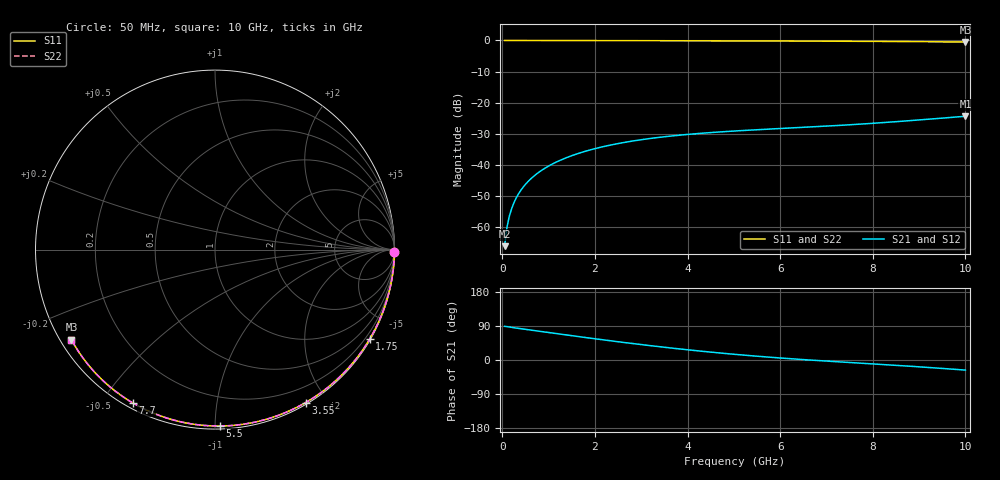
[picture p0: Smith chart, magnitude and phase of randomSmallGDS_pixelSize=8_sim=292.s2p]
! freq	dB(S11)	phase(S11)	dB(S12)	phase(S12)
!  dB(S21)	phase(S21)	dB(S22)	phase(S22)
!S-par simulation data
#  GHz  S  DB  R 50
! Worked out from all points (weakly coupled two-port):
!   200 points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, 50 MHz to 10 GHz, reference 50 ohm
!   highest |S21| = -24.35 dB at 10 GHz (marker M1); lowest = -66.1 dB at 50 MHz (marker M2)
!   lowest |S11| = -0.5 dB at 10 GHz (marker M3), VSWR 35.09, Z = 1.54 - j14.4 ohm
!   |S11| at or under -10 dB: nowhere
!   |S22| runs from -0.5 to 0.0 dB; largest |S21 - S12| = 0
!   S11 on the Smith chart (normalised r, x): 50 MHz: open; 1.75 GHz: 0.03, -3.72; 3.55 GHz: 0.02, -1.76; 5.5 GHz: 0.02, -1.03; 7.7 GHz: 0.02, -0.60; 10 GHz: 0.03, -0.29
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0.05  -0.00 -0.9  -66.08 89.0  -66.08 89.0  -0.00 -0.9
0.1  -0.00 -1.8  -60.07 88.0  -60.07 88.0  -0.00 -1.8
0.15  -0.00 -2.6  -56.56 87.0  -56.56 87.0  -0.00 -2.6
0.2  -0.00 -3.5  -54.09 86.1  -54.09 86.1  -0.00 -3.5
0.25  -0.00 -4.4  -52.17 85.2  -52.17 85.2  -0.00 -4.4
0.35  -0.00 -6.1  -49.28 83.4  -49.28 83.4  -0.00 -6.1
0.5  -0.01 -8.7  -46.23 80.9  -46.23 80.9  -0.01 -8.7
0.7  -0.01 -12.2  -43.36 77.5  -43.36 77.5  -0.01 -12.2
1  -0.02 -17.4  -40.34 72.5  -40.34 72.5  -0.02 -17.4
1.35  -0.03 -23.3  -37.86 66.6  -37.86 66.6  -0.03 -23.3
1.75  -0.04 -30.1  -35.78 60.1  -35.78 60.1  -0.04 -30.1
2.5  -0.06 -42.5  -33.12 48.2  -33.12 48.2  -0.06 -42.5
3.4  -0.08 -57.0  -31.10 35.0  -31.10 35.0  -0.08 -57.0
3.55  -0.08 -59.3  -30.85 32.9  -30.85 32.9  -0.08 -59.3
4.3  -0.10 -70.9  -29.81 23.2  -29.81 23.2  -0.10 -70.9
5.05  -0.13 -82.0  -29.05 14.6  -29.05 14.6  -0.13 -82.0
5.5  -0.15 -88.4  -28.68 10.0  -28.68 10.0  -0.15 -88.4
6.7  -0.21 -105.0  -27.76 -0.5  -27.76 -0.5  -0.21 -105.0
7.7  -0.27 -118.3  -26.91 -8.0  -26.91 -8.0  -0.27 -118.3
8.35  -0.32 -126.7  -26.26 -12.9  -26.26 -12.9  -0.32 -126.7
9.2  -0.40 -137.6  -25.30 -19.7  -25.30 -19.7  -0.40 -137.6
10  -0.50 -147.9  -24.35 -26.7  -24.35 -26.7  -0.50 -147.9
